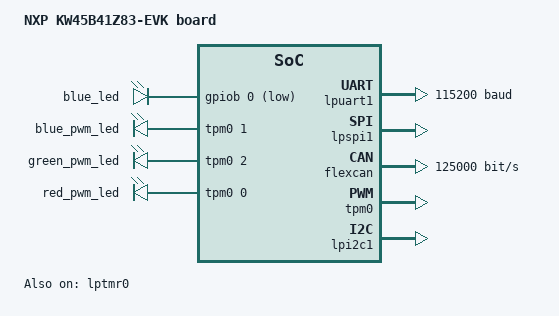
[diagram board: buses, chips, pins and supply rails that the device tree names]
/*
 * Copyright 2024 NXP
 * SPDX-License-Identifier: Apache-2.0
 */

/dts-v1/;

#include <nxp/nxp_kw45.dtsi>
#include "kw45b41z_evk-pinctrl.dtsi"

/ {
	model = "NXP KW45B41Z83-EVK board";
	compatible = "nxp,kw45";

	aliases {
		led0 = &blue_led;
		blue-pwm-led = &blue_pwm_led;
		green-pwm-led = &green_pwm_led;
		red-pwm-led = &red_pwm_led;
	};

	chosen {
		zephyr,flash = &flash;
		zephyr,flash-controller = &fmu;
		zephyr,code-partition = &code_partition;
		zephyr,sram = &stcm0;
		zephyr,console = &lpuart1;
		zephyr,canbus = &flexcan;
		zephyr,shell-uart = &lpuart1;
	};

	leds {
		compatible = "gpio-leds";
		blue_led: led {
			gpios = <&gpiob 0 GPIO_ACTIVE_LOW>;
		};
	};

	pwmleds {
		compatible = "pwm-leds";
		blue_pwm_led: pwm_led_0 {
			pwms = <&tpm0 1 PWM_USEC(200) PWM_POLARITY_NORMAL>;
		};
		green_pwm_led: pwm_led_1 {
			pwms = <&tpm0 2 PWM_USEC(200) PWM_POLARITY_NORMAL>;
		};
		red_pwm_led: pwm_led_2 {
			pwms = <&tpm0 0 PWM_USEC(200) PWM_POLARITY_NORMAL>;
		};
	};

	power-states {
		suspend_idle: suspend_idle {
			compatible = "zephyr,power-state";
			power-state-name = "suspend-to-idle";
			exit-latency-us = <140>;
			min-residency-us = <140>;
		};
	};

};

&cpu0 {
	cpu-power-states = < &suspend_idle >;
};

&gpiob {
	status = "okay";
};

&lpuart0 {
	current-speed = <115200>;
	status =  "disabled";
	pinctrl-0 = <&pinmux_lpuart0>;
	pinctrl-names = "default";
};

&lpuart1 {
	current-speed = <115200>;
	status =  "okay";
	pinctrl-0 = <&pinmux_lpuart1>;
	pinctrl-names = "default";
};

&lpspi1 {
	status = "okay";
	pinctrl-0 = <&pinmux_lpspi1>;
	pinctrl-names = "default";
};

&flexcan {
	status = "okay";
	bitrate = <125000>;
	pinctrl-0 = <&pinmux_flexcan>;
	pinctrl-names = "default";

	can-transceiver {
		max-bitrate = <420000000>;
	};
};

&flash {
	partitions {
		compatible = "fixed-partitions";
		#address-cells = <1>;
		#size-cells = <1>;

		code_partition: partition@0 {
			reg = <0x0 DT_SIZE_K(896)>;
			label = "code";
			read-only;
		};

		storage_partition: partition@e0000 {
			reg = <0xe0000 DT_SIZE_K(128)>;
			label = "storage";
		};
	};
};

&tpm0 {
	status = "okay";
	pinctrl-0 = <&pinmux_tpm0>;
	pinctrl-names = "default";
};

&lpi2c1 {
	status = "okay";
	pinctrl-0 = <&pinmux_lpi2c1>;
	pinctrl-names = "default";
};

&lptmr0 {
	status = "okay";
};
